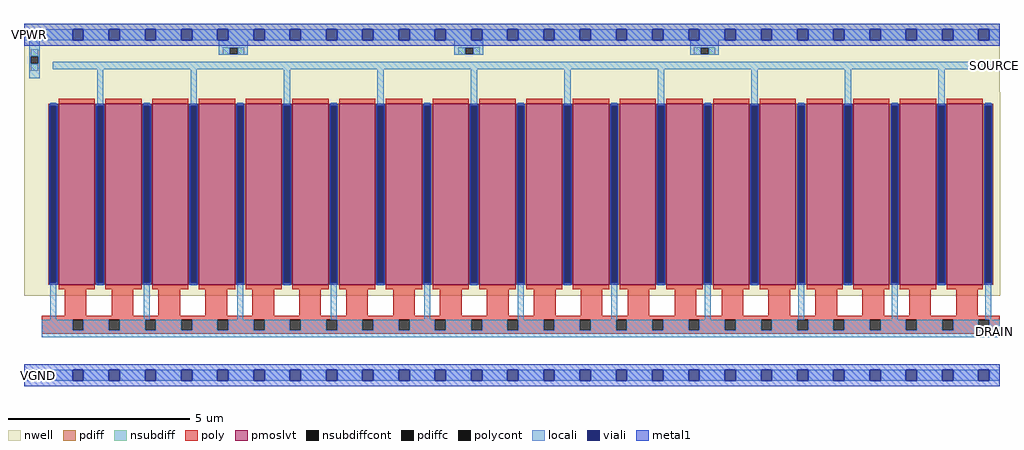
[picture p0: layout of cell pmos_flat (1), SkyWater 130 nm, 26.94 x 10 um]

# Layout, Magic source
magic
tech sky130A
magscale 1 2
<< nwell >>
rect -2742 562 2644 940
rect -2742 -562 2645 562
<< pmoslvt >>
rect -2551 -500 -2351 500
rect -2293 -500 -2093 500
rect -2035 -500 -1835 500
rect -1777 -500 -1577 500
rect -1519 -500 -1319 500
rect -1261 -500 -1061 500
rect -1003 -500 -803 500
rect -745 -500 -545 500
rect -487 -500 -287 500
rect -229 -500 -29 500
rect 29 -500 229 500
rect 287 -500 487 500
rect 545 -500 745 500
rect 803 -500 1003 500
rect 1061 -500 1261 500
rect 1319 -500 1519 500
rect 1577 -500 1777 500
rect 1835 -500 2035 500
rect 2093 -500 2293 500
rect 2351 -500 2551 500
<< pdiff >>
rect -2609 488 -2551 500
rect -2609 -488 -2597 488
rect -2563 -488 -2551 488
rect -2609 -500 -2551 -488
rect -2351 488 -2293 500
rect -2351 -488 -2339 488
rect -2305 -488 -2293 488
rect -2351 -500 -2293 -488
rect -2093 488 -2035 500
rect -2093 -488 -2081 488
rect -2047 -488 -2035 488
rect -2093 -500 -2035 -488
rect -1835 488 -1777 500
rect -1835 -488 -1823 488
rect -1789 -488 -1777 488
rect -1835 -500 -1777 -488
rect -1577 488 -1519 500
rect -1577 -488 -1565 488
rect -1531 -488 -1519 488
rect -1577 -500 -1519 -488
rect -1319 488 -1261 500
rect -1319 -488 -1307 488
rect -1273 -488 -1261 488
rect -1319 -500 -1261 -488
rect -1061 488 -1003 500
rect -1061 -488 -1049 488
rect -1015 -488 -1003 488
rect -1061 -500 -1003 -488
rect -803 488 -745 500
rect -803 -488 -791 488
rect -757 -488 -745 488
rect -803 -500 -745 -488
rect -545 488 -487 500
rect -545 -488 -533 488
rect -499 -488 -487 488
rect -545 -500 -487 -488
rect -287 488 -229 500
rect -287 -488 -275 488
rect -241 -488 -229 488
rect -287 -500 -229 -488
rect -29 488 29 500
rect -29 -488 -17 488
rect 17 -488 29 488
rect -29 -500 29 -488
rect 229 488 287 500
rect 229 -488 241 488
rect 275 -488 287 488
rect 229 -500 287 -488
rect 487 488 545 500
rect 487 -488 499 488
rect 533 -488 545 488
rect 487 -500 545 -488
rect 745 488 803 500
rect 745 -488 757 488
rect 791 -488 803 488
rect 745 -500 803 -488
rect 1003 488 1061 500
rect 1003 -488 1015 488
rect 1049 -488 1061 488
rect 1003 -500 1061 -488
rect 1261 488 1319 500
rect 1261 -488 1273 488
rect 1307 -488 1319 488
rect 1261 -500 1319 -488
rect 1519 488 1577 500
rect 1519 -488 1531 488
rect 1565 -488 1577 488
rect 1519 -500 1577 -488
rect 1777 488 1835 500
rect 1777 -488 1789 488
rect 1823 -488 1835 488
rect 1777 -500 1835 -488
rect 2035 488 2093 500
rect 2035 -488 2047 488
rect 2081 -488 2093 488
rect 2035 -500 2093 -488
rect 2293 488 2351 500
rect 2293 -488 2305 488
rect 2339 -488 2351 488
rect 2293 -500 2351 -488
rect 2551 488 2609 500
rect 2551 -488 2563 488
rect 2597 -488 2609 488
rect 2551 -500 2609 -488
<< pdiffc >>
rect -2597 -488 -2563 488
rect -2339 -488 -2305 488
rect -2081 -488 -2047 488
rect -1823 -488 -1789 488
rect -1565 -488 -1531 488
rect -1307 -488 -1273 488
rect -1049 -488 -1015 488
rect -791 -488 -757 488
rect -533 -488 -499 488
rect -275 -488 -241 488
rect -17 -488 17 488
rect 241 -488 275 488
rect 499 -488 533 488
rect 757 -488 791 488
rect 1015 -488 1049 488
rect 1273 -488 1307 488
rect 1531 -488 1565 488
rect 1789 -488 1823 488
rect 2047 -488 2081 488
rect 2305 -488 2339 488
rect 2563 -488 2597 488
<< nsubdiff >>
rect -1646 808 -1526 810
rect -2704 760 -2664 800
rect -1646 772 -1606 808
rect -1562 772 -1526 808
rect -1646 770 -1526 772
rect -346 808 -226 810
rect -346 772 -306 808
rect -262 772 -226 808
rect -346 770 -226 772
rect 954 808 1074 810
rect 954 772 994 808
rect 1038 772 1074 808
rect 954 770 1074 772
rect -2704 680 -2664 720
<< nsubdiffcont >>
rect -1606 772 -1562 808
rect -306 772 -262 808
rect 994 772 1038 808
rect -2704 720 -2664 760
<< poly >>
rect -2551 500 -2351 526
rect -2293 500 -2093 526
rect -2035 500 -1835 526
rect -1777 500 -1577 526
rect -1519 500 -1319 526
rect -1261 500 -1061 526
rect -1003 500 -803 526
rect -745 500 -545 526
rect -487 500 -287 526
rect -229 500 -29 526
rect 29 500 229 526
rect 287 500 487 526
rect 545 500 745 526
rect 803 500 1003 526
rect 1061 500 1261 526
rect 1319 500 1519 526
rect 1577 500 1777 526
rect 1835 500 2035 526
rect 2093 500 2293 526
rect 2351 500 2551 526
rect -2551 -526 -2351 -500
rect -2293 -526 -2093 -500
rect -2035 -526 -1835 -500
rect -1777 -526 -1577 -500
rect -1519 -526 -1319 -500
rect -1261 -526 -1061 -500
rect -1003 -526 -803 -500
rect -745 -526 -545 -500
rect -487 -526 -287 -500
rect -229 -526 -29 -500
rect 29 -526 229 -500
rect 287 -526 487 -500
rect 545 -526 745 -500
rect 803 -526 1003 -500
rect 1061 -526 1261 -500
rect 1319 -526 1519 -500
rect 1577 -526 1777 -500
rect 1835 -526 2035 -500
rect 2093 -526 2293 -500
rect 2351 -526 2551 -500
rect -2518 -672 -2398 -526
rect -2259 -672 -2139 -526
rect -2000 -672 -1880 -526
rect -1741 -672 -1621 -526
rect -1482 -672 -1362 -526
rect -1223 -672 -1103 -526
rect -964 -672 -844 -526
rect -705 -672 -585 -526
rect -446 -672 -326 -526
rect -187 -672 -67 -526
rect 72 -672 192 -526
rect 331 -672 451 -526
rect 590 -672 710 -526
rect 849 -672 969 -526
rect 1108 -672 1228 -526
rect 1367 -672 1487 -526
rect 1626 -672 1746 -526
rect 1885 -672 2005 -526
rect 2144 -672 2264 -526
rect 2403 -672 2523 -526
rect -2644 -692 2644 -672
rect -2644 -752 -2474 -692
rect -2414 -752 -2274 -692
rect -2214 -752 -2074 -692
rect -2014 -752 -1874 -692
rect -1814 -752 -1674 -692
rect -1614 -752 -1474 -692
rect -1414 -752 -1274 -692
rect -1214 -752 -1074 -692
rect -1014 -752 -874 -692
rect -814 -752 -674 -692
rect -614 -752 -474 -692
rect -414 -752 -274 -692
rect -214 -752 -74 -692
rect -14 -752 126 -692
rect 186 -752 326 -692
rect 386 -752 526 -692
rect 586 -752 726 -692
rect 786 -752 926 -692
rect 986 -752 1126 -692
rect 1186 -752 1326 -692
rect 1386 -752 1526 -692
rect 1586 -752 1726 -692
rect 1786 -752 1926 -692
rect 1986 -752 2126 -692
rect 2186 -752 2326 -692
rect 2386 -752 2526 -692
rect 2586 -752 2644 -692
rect -2644 -772 2644 -752
<< polycont >>
rect -2474 -752 -2414 -692
rect -2274 -752 -2214 -692
rect -2074 -752 -2014 -692
rect -1874 -752 -1814 -692
rect -1674 -752 -1614 -692
rect -1474 -752 -1414 -692
rect -1274 -752 -1214 -692
rect -1074 -752 -1014 -692
rect -874 -752 -814 -692
rect -674 -752 -614 -692
rect -474 -752 -414 -692
rect -274 -752 -214 -692
rect -74 -752 -14 -692
rect 126 -752 186 -692
rect 326 -752 386 -692
rect 526 -752 586 -692
rect 726 -752 786 -692
rect 926 -752 986 -692
rect 1126 -752 1186 -692
rect 1326 -752 1386 -692
rect 1526 -752 1586 -692
rect 1726 -752 1786 -692
rect 1926 -752 1986 -692
rect 2126 -752 2186 -692
rect 2326 -752 2386 -692
rect 2526 -752 2586 -692
<< locali >>
rect -2742 850 -2474 910
rect -2414 850 -2274 910
rect -2214 850 -2074 910
rect -2014 850 -1874 910
rect -1814 850 -1674 910
rect -1614 850 -1474 910
rect -1414 850 -1274 910
rect -1214 850 -1074 910
rect -1014 850 -874 910
rect -814 850 -674 910
rect -614 850 -474 910
rect -414 850 -274 910
rect -214 850 -74 910
rect -14 850 126 910
rect 186 850 326 910
rect 386 850 526 910
rect 586 850 726 910
rect 786 850 926 910
rect 986 850 1126 910
rect 1186 850 1326 910
rect 1386 850 1526 910
rect 1586 850 1726 910
rect 1786 850 1926 910
rect 1986 850 2126 910
rect 2186 850 2326 910
rect 2386 850 2526 910
rect 2586 850 2644 910
rect -2714 760 -2654 850
rect -1666 808 -1506 850
rect -1666 772 -1606 808
rect -1562 772 -1506 808
rect -1666 770 -1506 772
rect -366 808 -206 850
rect -366 772 -306 808
rect -262 772 -206 808
rect -366 770 -206 772
rect 934 808 1094 850
rect 934 772 994 808
rect 1038 772 1094 808
rect 934 770 1094 772
rect -2714 720 -2704 760
rect -2664 720 -2654 760
rect -2714 640 -2654 720
rect -2584 690 2644 730
rect -2597 488 -2563 504
rect -2597 -692 -2563 -488
rect -2339 488 -2305 690
rect -2339 -504 -2305 -488
rect -2081 488 -2047 504
rect -2081 -692 -2047 -488
rect -1823 488 -1789 690
rect -1823 -504 -1789 -488
rect -1565 488 -1531 504
rect -1565 -692 -1531 -488
rect -1307 488 -1273 690
rect -1307 -504 -1273 -488
rect -1049 488 -1015 504
rect -1049 -692 -1015 -488
rect -791 488 -757 690
rect -791 -504 -757 -488
rect -533 488 -499 504
rect -533 -692 -499 -488
rect -275 488 -241 690
rect -275 -504 -241 -488
rect -17 488 17 504
rect -17 -692 17 -488
rect 241 488 275 690
rect 241 -504 275 -488
rect 499 488 533 504
rect 499 -692 533 -488
rect 757 488 791 690
rect 757 -504 791 -488
rect 1015 488 1049 504
rect 1015 -692 1049 -488
rect 1273 488 1307 690
rect 1273 -504 1307 -488
rect 1531 488 1565 504
rect 1531 -692 1565 -488
rect 1789 488 1823 690
rect 1789 -504 1823 -488
rect 2047 488 2081 504
rect 2047 -692 2081 -488
rect 2305 488 2339 690
rect 2305 -504 2339 -488
rect 2563 488 2597 504
rect 2563 -692 2597 -488
rect -2644 -752 -2474 -692
rect -2414 -752 -2274 -692
rect -2214 -752 -2074 -692
rect -2014 -752 -1874 -692
rect -1814 -752 -1674 -692
rect -1614 -752 -1474 -692
rect -1414 -752 -1274 -692
rect -1214 -752 -1074 -692
rect -1014 -752 -874 -692
rect -814 -752 -674 -692
rect -614 -752 -474 -692
rect -414 -752 -274 -692
rect -214 -752 -74 -692
rect -14 -752 126 -692
rect 186 -752 326 -692
rect 386 -752 526 -692
rect 586 -752 726 -692
rect 786 -752 926 -692
rect 986 -752 1126 -692
rect 1186 -752 1326 -692
rect 1386 -752 1526 -692
rect 1586 -752 1726 -692
rect 1786 -752 1926 -692
rect 1986 -752 2126 -692
rect 2186 -752 2326 -692
rect 2386 -752 2526 -692
rect 2586 -752 2644 -692
rect -2644 -790 2644 -752
rect -2742 -1030 -2474 -970
rect -2414 -1030 -2274 -970
rect -2214 -1030 -2074 -970
rect -2014 -1030 -1874 -970
rect -1814 -1030 -1674 -970
rect -1614 -1030 -1474 -970
rect -1414 -1030 -1274 -970
rect -1214 -1030 -1074 -970
rect -1014 -1030 -874 -970
rect -814 -1030 -674 -970
rect -614 -1030 -474 -970
rect -414 -1030 -274 -970
rect -214 -1030 -74 -970
rect -14 -1030 126 -970
rect 186 -1030 326 -970
rect 386 -1030 526 -970
rect 586 -1030 726 -970
rect 786 -1030 926 -970
rect 986 -1030 1126 -970
rect 1186 -1030 1326 -970
rect 1386 -1030 1526 -970
rect 1586 -1030 1726 -970
rect 1786 -1030 1926 -970
rect 1986 -1030 2126 -970
rect 2186 -1030 2326 -970
rect 2386 -1030 2526 -970
rect 2586 -1030 2644 -970
<< viali >>
rect -2474 850 -2414 910
rect -2274 850 -2214 910
rect -2074 850 -2014 910
rect -1874 850 -1814 910
rect -1674 850 -1614 910
rect -1474 850 -1414 910
rect -1274 850 -1214 910
rect -1074 850 -1014 910
rect -874 850 -814 910
rect -674 850 -614 910
rect -474 850 -414 910
rect -274 850 -214 910
rect -74 850 -14 910
rect 126 850 186 910
rect 326 850 386 910
rect 526 850 586 910
rect 726 850 786 910
rect 926 850 986 910
rect 1126 850 1186 910
rect 1326 850 1386 910
rect 1526 850 1586 910
rect 1726 850 1786 910
rect 1926 850 1986 910
rect 2126 850 2186 910
rect 2326 850 2386 910
rect 2526 850 2586 910
rect -2597 -488 -2563 488
rect -2339 -488 -2305 488
rect -2081 -488 -2047 488
rect -1823 -488 -1789 488
rect -1565 -488 -1531 488
rect -1307 -488 -1273 488
rect -1049 -488 -1015 488
rect -791 -488 -757 488
rect -533 -488 -499 488
rect -275 -488 -241 488
rect -17 -488 17 488
rect 241 -488 275 488
rect 499 -488 533 488
rect 757 -488 791 488
rect 1015 -488 1049 488
rect 1273 -488 1307 488
rect 1531 -488 1565 488
rect 1789 -488 1823 488
rect 2047 -488 2081 488
rect 2305 -488 2339 488
rect 2563 -488 2597 488
rect -2474 -1030 -2414 -970
rect -2274 -1030 -2214 -970
rect -2074 -1030 -2014 -970
rect -1874 -1030 -1814 -970
rect -1674 -1030 -1614 -970
rect -1474 -1030 -1414 -970
rect -1274 -1030 -1214 -970
rect -1074 -1030 -1014 -970
rect -874 -1030 -814 -970
rect -674 -1030 -614 -970
rect -474 -1030 -414 -970
rect -274 -1030 -214 -970
rect -74 -1030 -14 -970
rect 126 -1030 186 -970
rect 326 -1030 386 -970
rect 526 -1030 586 -970
rect 726 -1030 786 -970
rect 926 -1030 986 -970
rect 1126 -1030 1186 -970
rect 1326 -1030 1386 -970
rect 1526 -1030 1586 -970
rect 1726 -1030 1786 -970
rect 1926 -1030 1986 -970
rect 2126 -1030 2186 -970
rect 2326 -1030 2386 -970
rect 2526 -1030 2586 -970
<< metal1 >>
rect -2742 910 2644 940
rect -2742 850 -2474 910
rect -2414 850 -2274 910
rect -2214 850 -2074 910
rect -2014 850 -1874 910
rect -1814 850 -1674 910
rect -1614 850 -1474 910
rect -1414 850 -1274 910
rect -1214 850 -1074 910
rect -1014 850 -874 910
rect -814 850 -674 910
rect -614 850 -474 910
rect -414 850 -274 910
rect -214 850 -74 910
rect -14 850 126 910
rect 186 850 326 910
rect 386 850 526 910
rect 586 850 726 910
rect 786 850 926 910
rect 986 850 1126 910
rect 1186 850 1326 910
rect 1386 850 1526 910
rect 1586 850 1726 910
rect 1786 850 1926 910
rect 1986 850 2126 910
rect 2186 850 2326 910
rect 2386 850 2526 910
rect 2586 850 2644 910
rect -2742 820 2644 850
rect -2603 488 -2557 500
rect -2603 -488 -2597 488
rect -2563 -488 -2557 488
rect -2603 -500 -2557 -488
rect -2345 488 -2299 500
rect -2345 -488 -2339 488
rect -2305 -488 -2299 488
rect -2345 -500 -2299 -488
rect -2087 488 -2041 500
rect -2087 -488 -2081 488
rect -2047 -488 -2041 488
rect -2087 -500 -2041 -488
rect -1829 488 -1783 500
rect -1829 -488 -1823 488
rect -1789 -488 -1783 488
rect -1829 -500 -1783 -488
rect -1571 488 -1525 500
rect -1571 -488 -1565 488
rect -1531 -488 -1525 488
rect -1571 -500 -1525 -488
rect -1313 488 -1267 500
rect -1313 -488 -1307 488
rect -1273 -488 -1267 488
rect -1313 -500 -1267 -488
rect -1055 488 -1009 500
rect -1055 -488 -1049 488
rect -1015 -488 -1009 488
rect -1055 -500 -1009 -488
rect -797 488 -751 500
rect -797 -488 -791 488
rect -757 -488 -751 488
rect -797 -500 -751 -488
rect -539 488 -493 500
rect -539 -488 -533 488
rect -499 -488 -493 488
rect -539 -500 -493 -488
rect -281 488 -235 500
rect -281 -488 -275 488
rect -241 -488 -235 488
rect -281 -500 -235 -488
rect -23 488 23 500
rect -23 -488 -17 488
rect 17 -488 23 488
rect -23 -500 23 -488
rect 235 488 281 500
rect 235 -488 241 488
rect 275 -488 281 488
rect 235 -500 281 -488
rect 493 488 539 500
rect 493 -488 499 488
rect 533 -488 539 488
rect 493 -500 539 -488
rect 751 488 797 500
rect 751 -488 757 488
rect 791 -488 797 488
rect 751 -500 797 -488
rect 1009 488 1055 500
rect 1009 -488 1015 488
rect 1049 -488 1055 488
rect 1009 -500 1055 -488
rect 1267 488 1313 500
rect 1267 -488 1273 488
rect 1307 -488 1313 488
rect 1267 -500 1313 -488
rect 1525 488 1571 500
rect 1525 -488 1531 488
rect 1565 -488 1571 488
rect 1525 -500 1571 -488
rect 1783 488 1829 500
rect 1783 -488 1789 488
rect 1823 -488 1829 488
rect 1783 -500 1829 -488
rect 2041 488 2087 500
rect 2041 -488 2047 488
rect 2081 -488 2087 488
rect 2041 -500 2087 -488
rect 2299 488 2345 500
rect 2299 -488 2305 488
rect 2339 -488 2345 488
rect 2299 -500 2345 -488
rect 2557 488 2603 500
rect 2557 -488 2563 488
rect 2597 -488 2603 488
rect 2557 -500 2603 -488
rect -2742 -970 2644 -940
rect -2742 -1030 -2474 -970
rect -2414 -1030 -2274 -970
rect -2214 -1030 -2074 -970
rect -2014 -1030 -1874 -970
rect -1814 -1030 -1674 -970
rect -1614 -1030 -1474 -970
rect -1414 -1030 -1274 -970
rect -1214 -1030 -1074 -970
rect -1014 -1030 -874 -970
rect -814 -1030 -674 -970
rect -614 -1030 -474 -970
rect -414 -1030 -274 -970
rect -214 -1030 -74 -970
rect -14 -1030 126 -970
rect 186 -1030 326 -970
rect 386 -1030 526 -970
rect 586 -1030 726 -970
rect 786 -1030 926 -970
rect 986 -1030 1126 -970
rect 1186 -1030 1326 -970
rect 1386 -1030 1526 -970
rect 1586 -1030 1726 -970
rect 1786 -1030 1926 -970
rect 1986 -1030 2126 -970
rect 2186 -1030 2326 -970
rect 2386 -1030 2526 -970
rect 2586 -1030 2644 -970
rect -2742 -1060 2644 -1030
<< labels >>
flabel nwell -2742 850 -2682 910 1 FreeSans 800 0 0 0 VPWR
flabel metal1 -2742 -1030 -2584 -970 1 FreeSans 800 0 0 0 VGND
flabel locali 2584 690 2644 730 1 FreeSans 800 0 0 0 SOURCE
flabel locali 2584 -790 2644 -730 1 FreeSans 800 0 0 0 DRAIN
flabel locali 2584 -752 2644 -692 1 FreeSans 800 0 0 0 GATE
<< end >>
